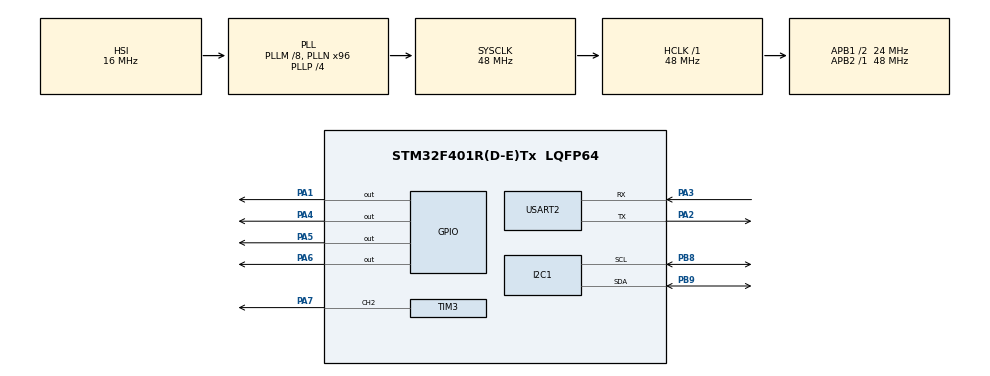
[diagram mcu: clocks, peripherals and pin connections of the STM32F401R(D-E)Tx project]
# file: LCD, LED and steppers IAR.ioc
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Mcu.Family=STM32F4
Mcu.Name=STM32F401R(D-E)Tx
Mcu.Package=LQFP64
NVIC.PriorityGroup=NVIC_PRIORITYGROUP_4
NVIC.USART2_IRQn=true\:2\:0\:true\:false\:true\:true\:true\:true
PA1.Signal=GPIO_Output
PA13.Mode=Serial_Wire
PA13.Signal=SYS_JTMS-SWDIO
PA14.Mode=Serial_Wire
PA14.Signal=SYS_JTCK-SWCLK
PA2.Mode=Asynchronous
PA2.Signal=USART2_TX
PA3.Mode=Asynchronous
PA3.Signal=USART2_RX
PA4.Signal=GPIO_Output
PA5.Signal=GPIO_Output
PA6.Signal=GPIO_Output
PA7.Signal=S_TIM3_CH2
PB8.Mode=I2C
PB8.Signal=I2C1_SCL
PB9.Mode=I2C
PB9.Signal=I2C1_SDA
PC14-OSC32_IN.Mode=LSE-External-Oscillator
PC14-OSC32_IN.Signal=RCC_OSC32_IN
PC15-OSC32_OUT.Mode=LSE-External-Oscillator
PC15-OSC32_OUT.Signal=RCC_OSC32_OUT
PH0\ -\ OSC_IN.Mode=HSE-External-Oscillator
PH0\ -\ OSC_IN.Signal=RCC_OSC_IN
PH1\ -\ OSC_OUT.Mode=HSE-External-Oscillator
PH1\ -\ OSC_OUT.Signal=RCC_OSC_OUT
ProjectManager.HeapSize=0x200
ProjectManager.StackSize=0x400
ProjectManager.TargetToolchain=EWARM V8.50
RCC.48MHZClocksFreq_Value=48000000
RCC.AHBFreq_Value=48000000
RCC.APB1CLKDivider=RCC_HCLK_DIV2
RCC.APB1Freq_Value=24000000
RCC.APB1TimFreq_Value=48000000
RCC.APB2Freq_Value=48000000
RCC.APB2TimFreq_Value=48000000
RCC.CortexFreq_Value=48000000
RCC.HCLKFreq_Value=48000000
RCC.HSE_VALUE=25000000
RCC.HSI_VALUE=16000000
RCC.PLLM=8
RCC.PLLN=96
RCC.PLLP=RCC_PLLP_DIV4
RCC.SYSCLKFreq_VALUE=48000000
RCC.SYSCLKSource=RCC_SYSCLKSOURCE_PLLCLK
RCC.VCOOutputFreq_Value=192000000
SH.S_TIM3_CH2.0=TIM3_CH2,PWM Generation2 CH2
TIM1.Prescaler=71
TIM3.Channel-PWM\ Generation2\ CH2=TIM_CHANNEL_2
TIM3.Period=4096
TIM3.Prescaler=2
USART2.VirtualMode=VM_ASYNC
VP_TIM1_VS_ClockSourceINT.Mode=Internal
VP_TIM3_VS_ClockSourceINT.Mode=Internal
board=custom

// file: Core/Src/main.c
/* USER CODE BEGIN Header */
/**
  ******************************************************************************
  * @file           : main.c
  * @brief          : Main program body
  ******************************************************************************
  * @attention
  *
  * Copyright (c) 2024 STMicroelectronics.
  * All rights reserved.
  *
  * This software is licensed under terms that can be found in the LICENSE file
  * in the root directory of this software component.
  * If no LICENSE file comes with this software, it is provided AS-IS.
  *
  ******************************************************************************
  */
/* USER CODE END Header */
#include "main.h"

/* USER CODE BEGIN Includes */
#include <stdio.h>
#include "liquidcrystal_i2c.h"
#include <string.h> /* memset */
#pragma pack(1)
/* USER CODE END Includes */

/* USER CODE BEGIN PD */
#define BUFFER_SIZE (sizeof(RS232Message))
#define BUFFER_QUEUE_SIZE 512
#define DIR_PIN1 GPIO_PIN_1
#define DIR_PIN2 GPIO_PIN_5
#define DIR_PORT1 GPIOA
#define DIR_PORT2 GPIOA
#define STEP_PIN1 GPIO_PIN_4
#define STEP_PIN2 GPIO_PIN_6
#define STEP_PORT1 GPIOA
#define STEP_PORT2 GPIOA
#define RESPONSE_SIZE 59
/* USER CODE END PD */

I2C_HandleTypeDef hi2c1;

TIM_HandleTypeDef htim1;
TIM_HandleTypeDef htim3;

UART_HandleTypeDef huart2;

/* USER CODE BEGIN PV */
I2C_HandleTypeDef hi2c1;

#ifdef __ICCARM__
int putchar(int c)
#else
int fputc(int c, FILE *f)
#endif
{
  uint8_t t = c;
  HAL_UART_Transmit(&huart2, &t, 1, 1000);
  return c;
}

enum Device { Motor, LED };

typedef enum{false, true} bool;

#pragma pack(push, 1)
struct RS232Message
{
    unsigned long long MessageID;
    unsigned char DeviceName;
    unsigned int MessageNum;
    int Data[3];
} RS232Message;
#pragma pack(pop)

uint8_t BufferQueue[BUFFER_QUEUE_SIZE][BUFFER_SIZE];

uint8_t volatile write_index = 0;
unsigned int PrevMsgNum = 0;
int volatile Diff;
uint8_t read_index = 0;
int Stepper1Distance;
int Stepper2Distance;
int Intensity;
int PositionDiplay = 0;
int Position1 = 0;
int Position2 = 0;
const int IntensityIntervalFactor = 100;
const int StepsIntervalFactor = 20;
const int MaxIntensity = 5000;
const int UARTTransitTimeout = 1000;
int IntensityInteval;
char Response[RESPONSE_SIZE];

/* USER CODE END PV */

void SystemClock_Config(void);
static void MX_GPIO_Init(void);
static void MX_TIM1_Init(void);
static void MX_I2C1_Init(void);
static void MX_USART2_UART_Init(void);
static void MX_TIM3_Init(void);
/* USER CODE BEGIN PFP */
static char* itoa(int num, char* str, int base);
int abs(int x);
/* USER CODE END PFP */

/* USER CODE BEGIN 0 */

void MoveSteps (int Stepper1Steps, uint8_t Stepper1Direction,int Stepper2Steps, uint8_t Stepper2Direction, uint16_t Delay, long long int MsgID)
{
  HD44780_Clear();
  HD44780_SetCursor(0,1);
  HD44780_PrintStr("Direction: ");
  HD44780_SetCursor(0,0);
  if(!Stepper1Steps)
  {
    HD44780_PrintStr("Position 2: ");
    HD44780_SetCursor(11,1);
    if (Stepper2Direction == 1)
    {
      HAL_GPIO_WritePin(DIR_PORT2, DIR_PIN2, GPIO_PIN_SET);
      HD44780_PrintStr("Left");
    }
    else
    {
      HAL_GPIO_WritePin(DIR_PORT2, DIR_PIN2, GPIO_PIN_RESET);
      HD44780_PrintStr("Right");
    }
  }
  else
  {
    HD44780_PrintStr("Position 1: ");
    HD44780_SetCursor(11,1);
    if (Stepper1Direction == 1)
    {
      HAL_GPIO_WritePin(DIR_PORT1, DIR_PIN1, GPIO_PIN_SET);
      HD44780_PrintStr("Left");
    }
    else
    {
      HAL_GPIO_WritePin(DIR_PORT1, DIR_PIN1, GPIO_PIN_RESET);
      HD44780_PrintStr("Right");
    }
  }
  int i, j;
  for(i=0, j=0; i<Stepper1Steps || j < Stepper2Steps;)
  {
    if(j<Stepper2Steps)
      HAL_GPIO_WritePin(STEP_PORT2, STEP_PIN2, GPIO_PIN_SET);
    if(i<Stepper1Steps)
      HAL_GPIO_WritePin(STEP_PORT1, STEP_PIN1, GPIO_PIN_SET);
    HAL_Delay(Delay);
    if(j<Stepper2Steps)
    {
      HAL_GPIO_WritePin(STEP_PORT2, STEP_PIN2, GPIO_PIN_RESET);
      j++;
    }
    if(i<Stepper1Steps)
    {
      HAL_GPIO_WritePin(STEP_PORT1, STEP_PIN1, GPIO_PIN_RESET);
      i++;
    }
    HAL_Delay(Delay);
    if(Stepper1Direction == 1 || Stepper2Direction == 1)
    {
      if(!Stepper1Steps)
      {
        Position1 = (Position1 + 1) % 200;
        PositionDiplay = Position1;
      }
      else
      {
        Position2 = (Position2 + 1) % 200;
        PositionDiplay = Position2;
      }
    }
    else
    {
      if(!Stepper1Steps)
      {
        Position1 = (Position1 - 1) % 200;
        PositionDiplay = Position1;
      }
      else
      {
        Position2 = (Position2 - 1) % 200;
        PositionDiplay = Position2;
      }
    }
    char sNum[5];
    itoa(PositionDiplay,sNum,10);
    HD44780_SetCursor(12,0);
    if(!PositionDiplay)
    {
      HD44780_PrintStr("00");
    }
    else
    {
      HD44780_PrintStr(sNum);
    }
  }
  if(Stepper2Direction == 1 && Stepper2Steps > 0)
  {
    sprintf (Response, "Stepper 2 moved %d steps left.\n ID:%llu", Stepper2Steps, MsgID);
  }
  else if(Stepper2Direction == 0 && Stepper2Steps > 0)
  {
    sprintf (Response, "Stepper 2 moved %d steps right.\n ID:%llu", Stepper2Steps, MsgID);
  }
  else if(Stepper1Direction == 1 && Stepper1Steps > 0)
  {
    sprintf (Response, "Stepper 1 moved %d steps left.\n ID:%llu",Stepper1Steps, MsgID);
  }
  else if(Stepper1Direction == 0 && Stepper1Steps > 0)
  {
    sprintf (Response, "Stepper 1 moved %d steps right.\n ID:%llu",Stepper1Steps, MsgID);
  }
}

void HAL_UART_RxCpltCallback(UART_HandleTypeDef *huart)
{
  // Enable reception for the next message
  write_index = (write_index + 1) % BUFFER_QUEUE_SIZE;
  HAL_UART_Receive_IT(&huart2, BufferQueue[write_index], BUFFER_SIZE);
}

/* USER CODE END 0 */

int main(void)
{

  /* MCU Configuration--------------------------------------------------------*/

  /* Reset of all peripherals, Initializes the Flash interface and the Systick. */
  HAL_Init();

  /* Configure the system clock */
  SystemClock_Config();

  /* Initialize all configured peripherals */
  MX_GPIO_Init();
  MX_TIM1_Init();
  MX_I2C1_Init();
  MX_USART2_UART_Init();
  MX_TIM3_Init();
  /* USER CODE BEGIN 2 */

  HAL_TIM_Base_Start(&htim3);
  HAL_TIM_PWM_Start(&htim3,TIM_CHANNEL_2);

  HAL_UART_Receive_IT(&huart2, BufferQueue[write_index], BUFFER_SIZE);

  /* USER CODE END 2 */

  /* Infinite loop */
  /* USER CODE BEGIN WHILE */
  HD44780_Init(2);
  HD44780_Clear();
  volatile struct RS232Message Message;

  while (1)
  {
     if (write_index != read_index)
     {
            Message = *((struct RS232Message *) BufferQueue[read_index]);
            Diff = PrevMsgNum - (Message.MessageNum - 1);
            if (Diff)
            {
              sprintf (Response, "Error. Message number is inconsistent.\n ID:%llu",Message.MessageID);
              HAL_UART_Transmit(&huart2, (uint8_t*)&Response, RESPONSE_SIZE, UARTTransitTimeout);
            }

            // Process the message
            enum Device DeviceName = (enum Device)Message.DeviceName;
            switch (DeviceName)
            {
              case Motor:
                  Stepper1Distance = Message.Data[0];
                  Stepper2Distance = Message.Data[1];
                  if(!Stepper1Distance && !Stepper2Distance)
                    break;
                  MoveSteps((int)abs(Stepper1Distance*StepsIntervalFactor),(uint8_t)(Stepper1Distance>0),(int)abs(Stepper2Distance*StepsIntervalFactor),(uint8_t)(Stepper2Distance>0),(uint16_t)100,Message.MessageID);
                  break;
              case LED:
                IntensityInteval = Message.Data[0] * IntensityIntervalFactor;
                if( (IntensityInteval+Intensity > MaxIntensity) || (IntensityInteval+Intensity < 0) ) // If Intensity is 0 or Maximun. As it changes only via interval amount.
                {
                  sprintf (Response, "Light intensity exceeded its' boundries Intensity:%d.\n ID:%llu",Intensity,Message.MessageID);
                  break;
                }
                Intensity += (Message.Data[0] * IntensityIntervalFactor);
                __HAL_TIM_SetCompare(&htim3, TIM_CHANNEL_2, Intensity); // From 0 to 5000 by intervals of +/- IntensityFactor
                sprintf (Response, "Light intensity:%d.\n ID:%llu",Intensity,Message.MessageID);
                break;
              default:
                break;
            }

            HAL_UART_Transmit(&huart2, (uint8_t*)&Response, RESPONSE_SIZE, UARTTransitTimeout);

            read_index = (read_index + 1) % BUFFER_QUEUE_SIZE;
            PrevMsgNum = Message.MessageNum;
      }
    /* USER CODE END WHILE */

  }
}

void SystemClock_Config(void)
{
  RCC_OscInitTypeDef RCC_OscInitStruct = {0};
  RCC_ClkInitTypeDef RCC_ClkInitStruct = {0};

  /** Configure the main internal regulator output voltage
  */
  __HAL_RCC_PWR_CLK_ENABLE();
  __HAL_PWR_VOLTAGESCALING_CONFIG(PWR_REGULATOR_VOLTAGE_SCALE2);

  /** Initializes the RCC Oscillators according to the specified parameters
  * in the RCC_OscInitTypeDef structure.
  */
  RCC_OscInitStruct.OscillatorType = RCC_OSCILLATORTYPE_HSI;
  RCC_OscInitStruct.HSIState = RCC_HSI_ON;
  RCC_OscInitStruct.HSICalibrationValue = RCC_HSICALIBRATION_DEFAULT;
  RCC_OscInitStruct.PLL.PLLState = RCC_PLL_ON;
  RCC_OscInitStruct.PLL.PLLSource = RCC_PLLSOURCE_HSI;
  RCC_OscInitStruct.PLL.PLLM = 8;
  RCC_OscInitStruct.PLL.PLLN = 96;
  RCC_OscInitStruct.PLL.PLLP = RCC_PLLP_DIV4;
  RCC_OscInitStruct.PLL.PLLQ = 4;
  if (HAL_RCC_OscConfig(&RCC_OscInitStruct) != HAL_OK)
  {
    Error_Handler();
  }

  /** Initializes the CPU, AHB and APB buses clocks
  */
  RCC_ClkInitStruct.ClockType = RCC_CLOCKTYPE_HCLK|RCC_CLOCKTYPE_SYSCLK
                              |RCC_CLOCKTYPE_PCLK1|RCC_CLOCKTYPE_PCLK2;
  RCC_ClkInitStruct.SYSCLKSource = RCC_SYSCLKSOURCE_PLLCLK;
  RCC_ClkInitStruct.AHBCLKDivider = RCC_SYSCLK_DIV1;
  RCC_ClkInitStruct.APB1CLKDivider = RCC_HCLK_DIV2;
  RCC_ClkInitStruct.APB2CLKDivider = RCC_HCLK_DIV1;

  if (HAL_RCC_ClockConfig(&RCC_ClkInitStruct, FLASH_LATENCY_1) != HAL_OK)
  {
    Error_Handler();
  }
}

static void MX_I2C1_Init(void)
{

  hi2c1.Instance = I2C1;
  hi2c1.Init.ClockSpeed = 100000;
  hi2c1.Init.DutyCycle = I2C_DUTYCYCLE_2;
  hi2c1.Init.OwnAddress1 = 0;
  hi2c1.Init.AddressingMode = I2C_ADDRESSINGMODE_7BIT;
  hi2c1.Init.DualAddressMode = I2C_DUALADDRESS_DISABLE;
  hi2c1.Init.OwnAddress2 = 0;
  hi2c1.Init.GeneralCallMode = I2C_GENERALCALL_DISABLE;
  hi2c1.Init.NoStretchMode = I2C_NOSTRETCH_DISABLE;
  if (HAL_I2C_Init(&hi2c1) != HAL_OK)
  {
    Error_Handler();
  }

}

static void MX_TIM1_Init(void)
{

  TIM_ClockConfigTypeDef sClockSourceConfig = {0};
  TIM_MasterConfigTypeDef sMasterConfig = {0};

  htim1.Instance = TIM1;
  htim1.Init.Prescaler = 71;
  htim1.Init.CounterMode = TIM_COUNTERMODE_UP;
  htim1.Init.Period = 65535;
  htim1.Init.ClockDivision = TIM_CLOCKDIVISION_DIV1;
  htim1.Init.RepetitionCounter = 0;
  htim1.Init.AutoReloadPreload = TIM_AUTORELOAD_PRELOAD_DISABLE;
  if (HAL_TIM_Base_Init(&htim1) != HAL_OK)
  {
    Error_Handler();
  }
  sClockSourceConfig.ClockSource = TIM_CLOCKSOURCE_INTERNAL;
  if (HAL_TIM_ConfigClockSource(&htim1, &sClockSourceConfig) != HAL_OK)
  {
    Error_Handler();
  }
  sMasterConfig.MasterOutputTrigger = TIM_TRGO_RESET;
  sMasterConfig.MasterSlaveMode = TIM_MASTERSLAVEMODE_DISABLE;
  if (HAL_TIMEx_MasterConfigSynchronization(&htim1, &sMasterConfig) != HAL_OK)
  {
    Error_Handler();
  }

}

static void MX_TIM3_Init(void)
{

  TIM_ClockConfigTypeDef sClockSourceConfig = {0};
  TIM_MasterConfigTypeDef sMasterConfig = {0};
  TIM_OC_InitTypeDef sConfigOC = {0};

  htim3.Instance = TIM3;
  htim3.Init.Prescaler = 2;
  htim3.Init.CounterMode = TIM_COUNTERMODE_UP;
  htim3.Init.Period = 4096;
  htim3.Init.ClockDivision = TIM_CLOCKDIVISION_DIV1;
  htim3.Init.AutoReloadPreload = TIM_AUTORELOAD_PRELOAD_DISABLE;
  if (HAL_TIM_Base_Init(&htim3) != HAL_OK)
  {
    Error_Handler();
  }
  sClockSourceConfig.ClockSource = TIM_CLOCKSOURCE_INTERNAL;
  if (HAL_TIM_ConfigClockSource(&htim3, &sClockSourceConfig) != HAL_OK)
  {
    Error_Handler();
  }
  if (HAL_TIM_PWM_Init(&htim3) != HAL_OK)
  {
    Error_Handler();
  }
  sMasterConfig.MasterOutputTrigger = TIM_TRGO_RESET;
  sMasterConfig.MasterSlaveMode = TIM_MASTERSLAVEMODE_DISABLE;
  if (HAL_TIMEx_MasterConfigSynchronization(&htim3, &sMasterConfig) != HAL_OK)
  {
    Error_Handler();
  }
  sConfigOC.OCMode = TIM_OCMODE_PWM1;
  sConfigOC.Pulse = 0;
  sConfigOC.OCPolarity = TIM_OCPOLARITY_HIGH;
  sConfigOC.OCFastMode = TIM_OCFAST_DISABLE;
  if (HAL_TIM_PWM_ConfigChannel(&htim3, &sConfigOC, TIM_CHANNEL_2) != HAL_OK)
  {
    Error_Handler();
  }
  HAL_TIM_MspPostInit(&htim3);

}

static void MX_USART2_UART_Init(void)
{

  huart2.Instance = USART2;
  huart2.Init.BaudRate = 115200;
  huart2.Init.WordLength = UART_WORDLENGTH_8B;
  huart2.Init.StopBits = UART_STOPBITS_1;
  huart2.Init.Parity = UART_PARITY_NONE;
  huart2.Init.Mode = UART_MODE_TX_RX;
  huart2.Init.HwFlowCtl = UART_HWCONTROL_NONE;
  huart2.Init.OverSampling = UART_OVERSAMPLING_16;
  if (HAL_UART_Init(&huart2) != HAL_OK)
  {
    Error_Handler();
  }

}

static void MX_GPIO_Init(void)
{
  GPIO_InitTypeDef GPIO_InitStruct = {0};

  /* GPIO Ports Clock Enable */
  __HAL_RCC_GPIOC_CLK_ENABLE();
  __HAL_RCC_GPIOH_CLK_ENABLE();
  __HAL_RCC_GPIOA_CLK_ENABLE();
  __HAL_RCC_GPIOB_CLK_ENABLE();

  /*Configure GPIO pin Output Level */
  HAL_GPIO_WritePin(GPIOA, GPIO_PIN_1|GPIO_PIN_4|GPIO_PIN_5|GPIO_PIN_6, GPIO_PIN_RESET);

  /*Configure GPIO pins : PA1 PA4 PA5 PA6 */
  GPIO_InitStruct.Pin = GPIO_PIN_1|GPIO_PIN_4|GPIO_PIN_5|GPIO_PIN_6;
  GPIO_InitStruct.Mode = GPIO_MODE_OUTPUT_PP;
  GPIO_InitStruct.Pull = GPIO_NOPULL;
  GPIO_InitStruct.Speed = GPIO_SPEED_FREQ_LOW;
  HAL_GPIO_Init(GPIOA, &GPIO_InitStruct);

}

/* USER CODE BEGIN 4 */

void swap(char *a, char *b)
  {
       if(!a || !b)
           return;

       char temp = *(a);
       *(a) = *(b);
       *(b) = temp;
   }

void reverse(char *str, int length)
{
	int start = 0;
	int end = length -1;
	while (start < end)
	{
		swap((str+start), (str+end));
		start++;
		end--;
	}
}

char* itoa(int num, char* str, int base)
{
	int i = 0;
	bool isNegative = false;

	if (num == 0)
	{
		str[i++] = '0';
		str[i] = '\0';
		return str;
	}

	if (num < 0 && base == 10)
	{
		isNegative = true;
		num = -num;
	}

	while (num != 0)
	{
		int rem = num % base;
		str[i++] = (rem > 9)? (rem-10) + 'a' : rem + '0';
		num = num/base;
	}

	if (isNegative == true)
		str[i++] = '-';

	str[i] = '\0';
	reverse(str, i);
	return str;
}

/* USER CODE END 4 */

void Error_Handler(void)
{
  __disable_irq();
  while (1)
  {
  }
}
